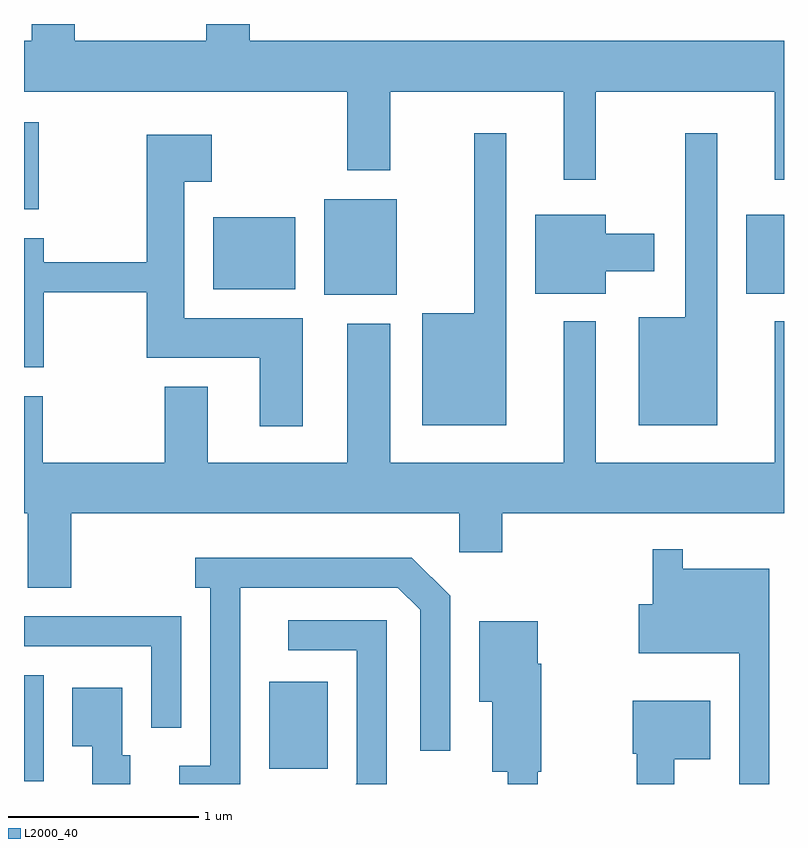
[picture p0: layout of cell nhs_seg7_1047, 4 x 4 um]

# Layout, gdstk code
import gdstk
lib = gdstk.Library(unit=1e-6, precision=1e-09)
def R(c, l, rs):  # rectangles x0, y0, x1, y1
    for r in rs: c.add(gdstk.rectangle(r[:2], r[2:], *l))
def P(c, l, *ps):  # polygons
    for p in ps: c.add(gdstk.Polygon(p, *l))
L2000_40 = (2000, 40)

nhs_seg7_1047 = lib.new_cell('nhs_seg7_1047')
R(nhs_seg7_1047, L2000_40, [(217.611,1686.266,217.714,1686.824), (218.901,1686.331,219.209,1686.789), (219.191,1688.826,219.574,1689.329), (221.411,1688.831,221.611,1689.249), (218.606,1688.856,219.039,1689.234), (217.611,1689.276,217.689,1689.734)])
P(nhs_seg7_1047, L2000_40, [(220.619,1689.896),(221.561,1689.896),(221.561,1689.433),(221.611,1689.433),(221.611,1690.164),(218.799,1690.164),(218.799,1690.252),(218.571,1690.252),(218.571,1690.164),(217.879,1690.164),(217.879,1690.252),(217.651,1690.252),(217.651,1690.164),(217.611,1690.164),(217.611,1689.896),(219.311,1689.896),(219.311,1689.481),(219.539,1689.481),(219.539,1689.896),(220.451,1689.896),(220.451,1689.433),(220.619,1689.433)],
  [(221.259,1689.678),(221.091,1689.678),(221.091,1688.709),(220.846,1688.709),(220.846,1688.141),(221.259,1688.141)],
  [(220.149,1689.678),(219.981,1689.678),(219.981,1688.729),(219.706,1688.729),(219.706,1688.141),(220.149,1688.141)],
  [(219.079,1688.704),(218.454,1688.704),(218.454,1689.421),(218.599,1689.421),(218.599,1689.669),(218.256,1689.669),(218.256,1688.999),(217.714,1688.999),(217.714,1689.124),(217.611,1689.124),(217.611,1688.446),(217.714,1688.446),(217.714,1688.841),(218.256,1688.841),(218.256,1688.496),(218.851,1688.496),(218.851,1688.136),(219.079,1688.136)],
  [(220.674,1688.951),(220.929,1688.951),(220.929,1689.149),(220.674,1689.149),(220.674,1689.249),(220.301,1689.249),(220.301,1688.831),(220.674,1688.831)],
  [(217.859,1687.676),(219.901,1687.676),(219.901,1687.471),(220.129,1687.471),(220.129,1687.676),(221.611,1687.676),(221.611,1688.688),(221.561,1688.688),(221.561,1687.944),(220.619,1687.944),(220.619,1688.688),(220.451,1688.688),(220.451,1687.944),(219.539,1687.944),(219.539,1688.674),(219.311,1688.674),(219.311,1687.944),(218.579,1687.944),(218.579,1688.344),(218.351,1688.344),(218.351,1687.944),(217.709,1687.944),(217.709,1688.294),(217.611,1688.294),(217.611,1687.676),(217.631,1687.676),(217.631,1687.286),(217.859,1687.286)],
  [(221.534,1687.384),(221.079,1687.384),(221.079,1687.488),(220.921,1687.488),(220.921,1687.199),(220.846,1687.199),(220.846,1686.941),(221.376,1686.941),(221.376,1686.252),(221.534,1686.252)],
  [(218.749,1687.286),(219.579,1687.286),(219.696,1687.169),(219.696,1686.428),(219.854,1686.428),(219.854,1687.242),(219.652,1687.444),(218.513,1687.444),(218.513,1687.286),(218.591,1687.286),(218.591,1686.349),(218.428,1686.349),(218.428,1686.252),(218.749,1686.252)],
  [(218.439,1687.134),(217.611,1687.134),(217.611,1686.976),(218.281,1686.976),(218.281,1686.548),(218.439,1686.548)],
  [(219.519,1687.114),(219.003,1687.114),(219.003,1686.956),(219.361,1686.956),(219.361,1686.257),(219.356,1686.252),(219.519,1686.252)],
  [(220.314,1686.316),(220.334,1686.316),(220.334,1686.884),(220.314,1686.884),(220.314,1687.109),(220.006,1687.109),(220.006,1686.686),(220.076,1686.686),(220.076,1686.316),(220.156,1686.316),(220.156,1686.252),(220.314,1686.252)],
  [(218.169,1686.404),(218.129,1686.404),(218.129,1686.759),(217.866,1686.759),(217.866,1686.451),(217.971,1686.451),(217.971,1686.252),(218.169,1686.252)],
  [(221.034,1686.381),(221.224,1686.381),(221.224,1686.689),(220.816,1686.689),(220.816,1686.411),(220.836,1686.411),(220.836,1686.252),(221.034,1686.252)])

lib.write_gds('nhs_seg7_1047.gds')
